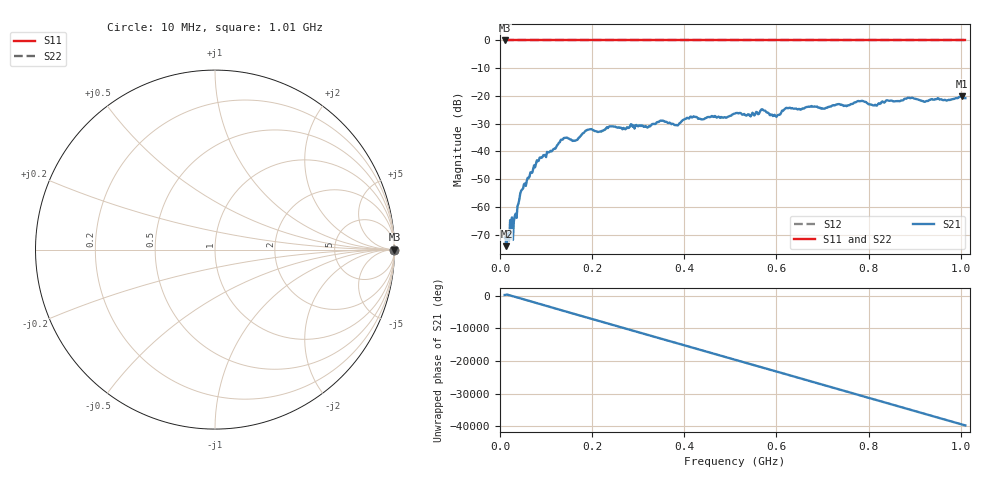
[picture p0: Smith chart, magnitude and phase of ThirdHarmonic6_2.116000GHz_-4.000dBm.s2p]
! 8/17/2025 1:17:53 AM
! C:\ANRITSUVNA\TEMP\TEMP.S2P
! CHANNEL.1
! TR.MEASUREMENT
! RAW.DATA
! RF.CORRECTION.OFF
! AVERAGING.OFF
! IF.BANDWIDTH: 5KHZ
! SWEEPTYPE:  FREQ.SWEEP(Linear)
! Reference Plane Port Info
! PORT:  PORT1  PORT2
! DISTANCE:  0  m  0  m
! TIME:  0  s  0  s
! PHASE.OFFSET:  0  deg.  0  deg.
! LOSS:  0  dB  0  dB
! REF.LOSS:  0  dB  0  dB
! REF.FREQ:  0  Hz  0  Hz
! Power Info
! POWER:  -20  dBm  -20  dBm
! EFF.POWER:  -20  dBm  -20  dBm
! SOURCE.ATTEN:  0  dB  0  dB
! TEST.ATTEN:  0  dB  0  dB
# GHZ S RI R 50.0
! FREQ.GHZ  S11RE  S11IM  S21RE  S21IM  S12RE  S12IM  S22RE  S22IM
!; PortSelection: Port_12
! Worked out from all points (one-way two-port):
!   501 points, 10 MHz to 1.01 GHz, reference 50 ohm
!   highest |S21| = -20.17 dB at 1.002 GHz (marker M1); lowest = -74.2 dB at 14 MHz (marker M2)
!   lowest |S11| = 0.0 dB at 10 MHz (marker M3)
!   |S11| at or under -10 dB: nowhere
!   |S22| runs from 0.0 to 0.0 dB; largest |S21 - S12| = 1.1
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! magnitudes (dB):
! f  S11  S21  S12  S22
! 10 MHz  0.0  -71.0  0.0  0.0
! 14 MHz  0.0  -74.2  0.0  0.0
! 32 MHz  0.0  -63.3  0.0  0.0
! 48 MHz  0.0  -53.8  0.0  0.0
! 84 MHz  0.0  -43.4  0.0  0.0
! 136 MHz  0.0  -35.8  0.0  0.0
! 162 MHz  0.0  -36.2  0.0  0.0
! 178 MHz  0.0  -33.8  0.0  0.0
! 194 MHz  0.0  -32.1  0.0  0.0
! 322 MHz  0.0  -31.1  0.0  0.0
! 344 MHz  0.0  -29.4  0.0  0.0
! 382 MHz  0.0  -30.5  0.0  0.0
! 416 MHz  0.0  -27.8  0.0  0.0
! 510 MHz  0.0  -26.3  0.0  0.0
! 570 MHz  0.0  -24.9  0.0  0.0
! 596 MHz  0.0  -26.8  0.0  0.0
! 624 MHz  0.0  -24.4  0.0  0.0
! 678 MHz  0.0  -23.8  0.0  0.0
! 814 MHz  0.0  -23.2  0.0  0.0
! 844 MHz  0.0  -21.7  0.0  0.0
! 1.002 GHz  0.0  -20.2  0.0  0.0
! 1.01 GHz  0.0  -20.8  0.0  0.0
